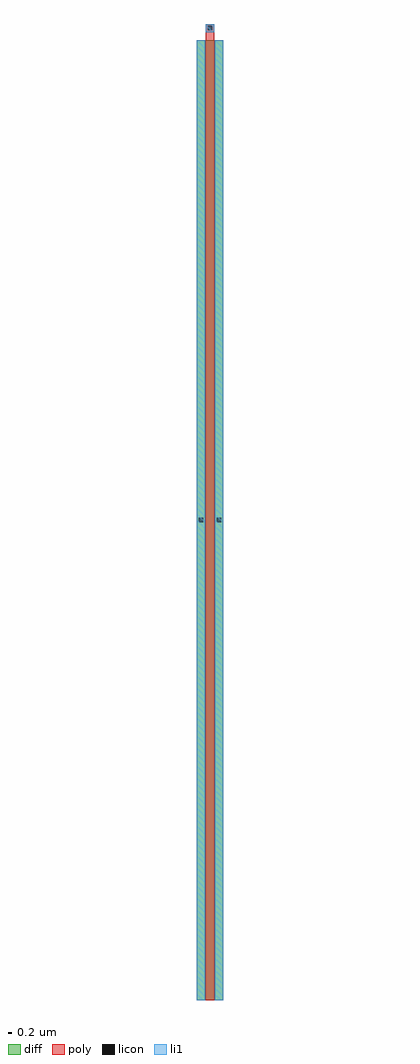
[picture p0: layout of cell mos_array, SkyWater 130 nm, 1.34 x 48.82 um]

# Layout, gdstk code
import gdstk
lib = gdstk.Library(unit=1e-6, precision=1e-09)
def R(c, l, rs):  # rectangles x0, y0, x1, y1
    for r in rs: c.add(gdstk.rectangle(r[:2], r[2:], *l))
diff = (65, 20)
poly = (66, 20)
licon = (66, 44)
li1 = (67, 20)

mos_array = lib.new_cell('mos_array')
R(mos_array, diff, [(0,0,1.34,48)])
R(mos_array, poly, [(0.42,0,0.92,48), (0.46,48,0.88,48.82)])
R(mos_array, licon, [(0.1,23.89,0.32,24.11), (1.02,23.89,1.24,24.11), (0.56,48.5,0.78,48.72)])
R(mos_array, li1, [(0,0,0.42,48), (0.92,0,1.34,48), (0.46,48.4,0.88,48.82)])

lib.write_gds('mos_array.gds')
